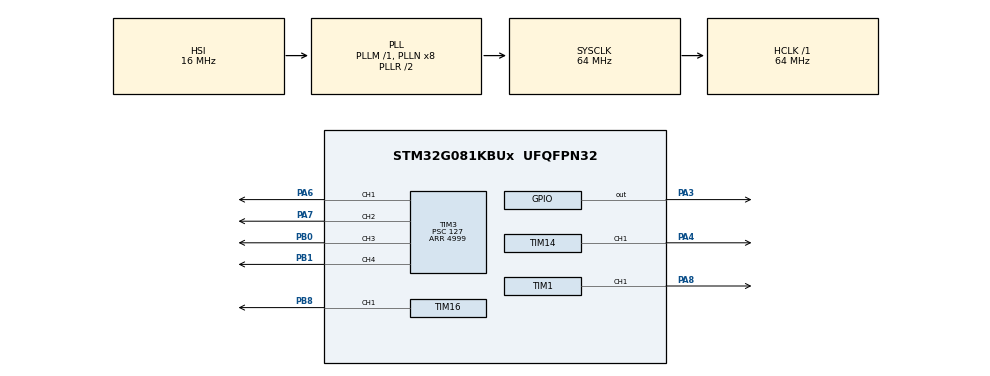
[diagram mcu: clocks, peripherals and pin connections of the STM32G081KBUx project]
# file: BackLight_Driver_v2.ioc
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Mcu.Family=STM32G0
Mcu.Name=STM32G081KBUx
Mcu.Package=UFQFPN32
PA13.Mode=Serial_Wire
PA13.Signal=SYS_SWDIO
PA14-BOOT0.Mode=Serial_Wire
PA14-BOOT0.Signal=SYS_SWCLK
PA3.Signal=GPIO_Output
PA4.Signal=S_TIM14_CH1
PA6.Signal=S_TIM3_CH1
PA7.Signal=S_TIM3_CH2
PA8.Signal=S_TIM1_CH1
PB0.Signal=S_TIM3_CH3
PB1.Signal=S_TIM3_CH4
PB8.Signal=S_TIM16_CH1
ProjectManager.HeapSize=0x200
ProjectManager.StackSize=0x400
ProjectManager.TargetToolchain=STM32CubeIDE
RCC.ADCFreq_Value=64000000
RCC.AHBFreq_Value=64000000
RCC.CortexFreq_Value=64000000
RCC.EXTERNAL_CLOCK_VALUE=48000
RCC.HCLKFreq_Value=64000000
RCC.HSE_VALUE=8000000
RCC.HSI_VALUE=16000000
RCC.LSE_VALUE=32768
RCC.SYSCLKFreq_VALUE=64000000
RCC.SYSCLKSource=RCC_SYSCLKSOURCE_PLLCLK
RCC.VCOOutputFreq_Value=128000000
SH.S_TIM14_CH1.0=TIM14_CH1,PWM Generation1 CH1
SH.S_TIM16_CH1.0=TIM16_CH1,PWM Generation1 CH1
SH.S_TIM1_CH1.0=TIM1_CH1,PWM Generation1 CH1
SH.S_TIM3_CH1.0=TIM3_CH1,PWM Generation1 CH1
SH.S_TIM3_CH2.0=TIM3_CH2,PWM Generation2 CH2
SH.S_TIM3_CH3.0=TIM3_CH3,PWM Generation3 CH3
SH.S_TIM3_CH4.0=TIM3_CH4,PWM Generation4 CH4
TIM1.Channel-PWM\ Generation1\ CH1=TIM_CHANNEL_1
TIM1.Period=4999
TIM1.Prescaler=127
TIM1.Pulse-PWM\ Generation1\ CH1=5000
TIM14.Channel=TIM_CHANNEL_1
TIM14.Period=4999
TIM14.Prescaler=127
TIM14.Pulse=5000
TIM16.Channel=TIM_CHANNEL_1
TIM16.Period=4999
TIM16.Prescaler=127
TIM16.Pulse=5000
TIM3.Channel-PWM\ Generation1\ CH1=TIM_CHANNEL_1
TIM3.Channel-PWM\ Generation2\ CH2=TIM_CHANNEL_2
TIM3.Channel-PWM\ Generation3\ CH3=TIM_CHANNEL_3
TIM3.Channel-PWM\ Generation4\ CH4=TIM_CHANNEL_4
TIM3.Period=4999
TIM3.Prescaler=127
TIM3.Pulse-PWM\ Generation1\ CH1=5000
TIM3.Pulse-PWM\ Generation2\ CH2=5000
TIM3.Pulse-PWM\ Generation3\ CH3=5000
TIM3.Pulse-PWM\ Generation4\ CH4=5000
VP_SYS_VS_DBSignals.Mode=DisableDeadBatterySignals
VP_TIM14_VS_ClockSourceINT.Mode=Enable_Timer
VP_TIM16_VS_ClockSourceINT.Mode=Enable_Timer
VP_TIM1_VS_ClockSourceINT.Mode=Internal
VP_TIM3_VS_ClockSourceINT.Mode=Internal
board=custom

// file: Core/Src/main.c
/* USER CODE BEGIN Header */
/**
  ******************************************************************************
  * @file           : main.c
  * @brief          : Main program body
  ******************************************************************************
  * @attention
  *
  * <h2><center>&copy; Copyright (c) 2021 STMicroelectronics.
  * All rights reserved.</center></h2>
  *
  * This software component is licensed by ST under BSD 3-Clause license,
  * the "License"; You may not use this file except in compliance with the
  * License. You may obtain a copy of the License at:
  *                        opensource.org/licenses/BSD-3-Clause
  *
  ******************************************************************************
  */
/* USER CODE END Header */
#include "main.h"

/* USER CODE BEGIN Includes */
#include "LTR-329ALS-01_DS_V1.h"
#include "I2C_Functions.h"
/* USER CODE END Includes */

/* USER CODE BEGIN PD */
#define Backlight_Slave_Address (0x60)
/* USER CODE END PD */

TIM_HandleTypeDef htim1;
TIM_HandleTypeDef htim3;
TIM_HandleTypeDef htim14;
TIM_HandleTypeDef htim16;

/* USER CODE BEGIN PV */
uint8_t Received_DutyData[2];
uint8_t level_set_flag=0;
int16_t duty;
uint8_t LTR_TransmitData[2];
uint8_t BL_TransmitData[2];
uint32_t xxx = 0;
uint32_t cntxx = 0;
/* USER CODE END PV */

void SystemClock_Config(void);
static void MX_GPIO_Init(void);
static void MX_TIM1_Init(void);
static void MX_TIM3_Init(void);
static void MX_TIM14_Init(void);
static void MX_TIM16_Init(void);

/* USER CODE BEGIN 0 */

void Send_Backlight_Level(void){
	BL_TransmitData[0] =(uint8_t)(duty>>8);
	BL_TransmitData[1] =(uint8_t)(duty);
}

void LTR_Meas(void){
	if(ALS_GetData(&LTR)==DataValid){
		 LuxCalc(&LTR);
		 LTR_TransmitData[0] =(uint8_t)(((uint16_t)((LTR.lux)*50))>>8);
		 LTR_TransmitData[1] =(uint8_t)(LTR.lux*50);
	}
}
/*
void Send_Ambient_Data(void){

	 LTR_TransmitData[0] = 0;
	 LTR_TransmitData[1] = xxx;
	 xxx++;
}*/
/* USER CODE END 0 */

int main(void)
{

  /* MCU Configuration--------------------------------------------------------*/

  /* Reset of all peripherals, Initializes the Flash interface and the Systick. */
  HAL_Init();

  /* Configure the system clock */
  SystemClock_Config();

  /* Initialize all configured peripherals */
  MX_GPIO_Init();
  MX_TIM1_Init();
  MX_TIM3_Init();
  MX_TIM14_Init();
  MX_TIM16_Init();
  /* USER CODE BEGIN 2 */
  duty = htim1.Instance->CCR1;
	I2C2_Master_Register_Init();
  I2C1_Slave_Register_Init();

  	 HAL_GPIO_WritePin(GPIOA, GPIO_PIN_3, GPIO_PIN_SET);//TPS61196 Enable edilir.
     HAL_TIM_PWM_Start(&htim1, TIM_CHANNEL_1);//TPS61196 PWM1 başlatılır.(100Hz,1:5000)
     HAL_TIM_PWM_Start(&htim3, TIM_CHANNEL_1);//TPS61196 PWM2 başlatılır.(100Hz,1:5000)
     HAL_TIM_PWM_Start(&htim3, TIM_CHANNEL_2);//TPS61196 PWM3 başlatılır.(100Hz,1:5000)
     HAL_TIM_PWM_Start(&htim3, TIM_CHANNEL_3);//TPS61196 PWM4 başlatılır.(100Hz,1:5000)
     HAL_TIM_PWM_Start(&htim3, TIM_CHANNEL_4);//TPS61196 PWM5 başlatılır.(100Hz,1:5000)
     HAL_TIM_PWM_Start(&htim14, TIM_CHANNEL_1);//TPS61196 PWM6 başlatılır.(100Hz,1:5000)
     HAL_TIM_PWM_Start(&htim16, TIM_CHANNEL_1);//TPS61196 PWM7 başlatılır.(100Hz,1:5000)
   	// LTR SENSOR ACTIVATİON

     LTR_Sensor_Init(&LTR);	// LTR Sensor Startup
     ALS_IntTimeBitRead(&LTR);

     ALS_CONTR_GainSet(&LTR, 1);	// LTR Sensor Gain Set INPUTS --> 1 - 2 - 4 - 8 - 48 - 96
     ALS_IntTimeSet(&LTR, 100);   // LTR Sensor Integration Time Set INPUTS --> 50 - 100 - 150 - 200 - 250 - 300 - 350
     ALS_MeasRateSet(&LTR, 200);  // LTR Sensor Measurement Rate Time Set INPUTS --> 50 - 100 - 200 - 500 - 1000 - 2000*/

  /* USER CODE END 2 */

  /* Infinite loop */
  /* USER CODE BEGIN WHILE */
  while (1)
  {
	  if(level_set_flag == 1){
		  	duty=(uint32_t)((((uint32_t)Received_DutyData[0])<<8)|((uint32_t)Received_DutyData[1]));
			htim1.Instance->CCR1=duty;//TPS61196  PWM1 darbe genişliği terminalden gelen 0-5000 aralığındaki bir değerle değiştirilir.
			htim3.Instance->CCR1=duty;//TPS61196  PWM2 darbe genişliği terminalden gelen 0-5000 aralığındaki bir değerle değiştirilir.
			htim3.Instance->CCR2=duty;//TPS61196  PWM3 darbe genişliği terminalden gelen 0-5000 aralığındaki bir değerle değiştirilir.
			htim3.Instance->CCR3=duty;//TPS61196  PWM4 darbe genişliği terminalden gelen 0-5000 aralığındaki bir değerle değiştirilir.
			htim3.Instance->CCR4=duty;//TPS61196  PWM5 darbe genişliği terminalden gelen 0-5000 aralığındaki bir değerle değiştirilir.
			htim14.Instance->CCR1=duty;//TPS61196 PWM6 darbe genişliği terminalden gelen 0-5000 aralığındaki bir değerle değiştirilir.
			htim16.Instance->CCR1=duty;//TPS61196 PWM7 darbe genişliği terminalden gelen 0-5000 aralığındaki bir değerle değiştirilir.
			level_set_flag = 0;
	  }
	  cntxx++;
	  if(cntxx == 200){
		  LTR_Meas();
		  cntxx = 0;
	  }

    /* USER CODE END WHILE */

  }
}

void SystemClock_Config(void)
{
  RCC_OscInitTypeDef RCC_OscInitStruct = {0};
  RCC_ClkInitTypeDef RCC_ClkInitStruct = {0};
  RCC_PeriphCLKInitTypeDef PeriphClkInit = {0};

  /** Configure the main internal regulator output voltage
  */
  HAL_PWREx_ControlVoltageScaling(PWR_REGULATOR_VOLTAGE_SCALE1);
  /** Initializes the RCC Oscillators according to the specified parameters
  * in the RCC_OscInitTypeDef structure.
  */
  RCC_OscInitStruct.OscillatorType = RCC_OSCILLATORTYPE_HSI;
  RCC_OscInitStruct.HSIState = RCC_HSI_ON;
  RCC_OscInitStruct.HSIDiv = RCC_HSI_DIV1;
  RCC_OscInitStruct.HSICalibrationValue = RCC_HSICALIBRATION_DEFAULT;
  RCC_OscInitStruct.PLL.PLLState = RCC_PLL_ON;
  RCC_OscInitStruct.PLL.PLLSource = RCC_PLLSOURCE_HSI;
  RCC_OscInitStruct.PLL.PLLM = RCC_PLLM_DIV1;
  RCC_OscInitStruct.PLL.PLLN = 8;
  RCC_OscInitStruct.PLL.PLLP = RCC_PLLP_DIV2;
  RCC_OscInitStruct.PLL.PLLQ = RCC_PLLQ_DIV2;
  RCC_OscInitStruct.PLL.PLLR = RCC_PLLR_DIV2;
  if (HAL_RCC_OscConfig(&RCC_OscInitStruct) != HAL_OK)
  {
    Error_Handler();
  }
  /** Initializes the CPU, AHB and APB buses clocks
  */
  RCC_ClkInitStruct.ClockType = RCC_CLOCKTYPE_HCLK|RCC_CLOCKTYPE_SYSCLK
                              |RCC_CLOCKTYPE_PCLK1;
  RCC_ClkInitStruct.SYSCLKSource = RCC_SYSCLKSOURCE_PLLCLK;
  RCC_ClkInitStruct.AHBCLKDivider = RCC_SYSCLK_DIV1;
  RCC_ClkInitStruct.APB1CLKDivider = RCC_HCLK_DIV1;

  if (HAL_RCC_ClockConfig(&RCC_ClkInitStruct, FLASH_LATENCY_2) != HAL_OK)
  {
    Error_Handler();
  }
  /** Initializes the peripherals clocks
  */
  PeriphClkInit.PeriphClockSelection = RCC_PERIPHCLK_TIM1;
  PeriphClkInit.Tim1ClockSelection = RCC_TIM1CLKSOURCE_PCLK1;
  if (HAL_RCCEx_PeriphCLKConfig(&PeriphClkInit) != HAL_OK)
  {
    Error_Handler();
  }
}

static void MX_TIM1_Init(void)
{

  TIM_ClockConfigTypeDef sClockSourceConfig = {0};
  TIM_MasterConfigTypeDef sMasterConfig = {0};
  TIM_OC_InitTypeDef sConfigOC = {0};
  TIM_BreakDeadTimeConfigTypeDef sBreakDeadTimeConfig = {0};

  htim1.Instance = TIM1;
  htim1.Init.Prescaler = 127;
  htim1.Init.CounterMode = TIM_COUNTERMODE_UP;
  htim1.Init.Period = 4999;
  htim1.Init.ClockDivision = TIM_CLOCKDIVISION_DIV1;
  htim1.Init.RepetitionCounter = 0;
  htim1.Init.AutoReloadPreload = TIM_AUTORELOAD_PRELOAD_DISABLE;
  if (HAL_TIM_Base_Init(&htim1) != HAL_OK)
  {
    Error_Handler();
  }
  sClockSourceConfig.ClockSource = TIM_CLOCKSOURCE_INTERNAL;
  if (HAL_TIM_ConfigClockSource(&htim1, &sClockSourceConfig) != HAL_OK)
  {
    Error_Handler();
  }
  if (HAL_TIM_PWM_Init(&htim1) != HAL_OK)
  {
    Error_Handler();
  }
  sMasterConfig.MasterOutputTrigger = TIM_TRGO_RESET;
  sMasterConfig.MasterOutputTrigger2 = TIM_TRGO2_RESET;
  sMasterConfig.MasterSlaveMode = TIM_MASTERSLAVEMODE_DISABLE;
  if (HAL_TIMEx_MasterConfigSynchronization(&htim1, &sMasterConfig) != HAL_OK)
  {
    Error_Handler();
  }
  sConfigOC.OCMode = TIM_OCMODE_PWM1;
  sConfigOC.Pulse = 5000;
  sConfigOC.OCPolarity = TIM_OCPOLARITY_HIGH;
  sConfigOC.OCNPolarity = TIM_OCNPOLARITY_HIGH;
  sConfigOC.OCFastMode = TIM_OCFAST_DISABLE;
  sConfigOC.OCIdleState = TIM_OCIDLESTATE_RESET;
  sConfigOC.OCNIdleState = TIM_OCNIDLESTATE_RESET;
  if (HAL_TIM_PWM_ConfigChannel(&htim1, &sConfigOC, TIM_CHANNEL_1) != HAL_OK)
  {
    Error_Handler();
  }
  sBreakDeadTimeConfig.OffStateRunMode = TIM_OSSR_DISABLE;
  sBreakDeadTimeConfig.OffStateIDLEMode = TIM_OSSI_DISABLE;
  sBreakDeadTimeConfig.LockLevel = TIM_LOCKLEVEL_OFF;
  sBreakDeadTimeConfig.DeadTime = 0;
  sBreakDeadTimeConfig.BreakState = TIM_BREAK_DISABLE;
  sBreakDeadTimeConfig.BreakPolarity = TIM_BREAKPOLARITY_HIGH;
  sBreakDeadTimeConfig.BreakFilter = 0;
  sBreakDeadTimeConfig.BreakAFMode = TIM_BREAK_AFMODE_INPUT;
  sBreakDeadTimeConfig.Break2State = TIM_BREAK2_DISABLE;
  sBreakDeadTimeConfig.Break2Polarity = TIM_BREAK2POLARITY_HIGH;
  sBreakDeadTimeConfig.Break2Filter = 0;
  sBreakDeadTimeConfig.Break2AFMode = TIM_BREAK_AFMODE_INPUT;
  sBreakDeadTimeConfig.AutomaticOutput = TIM_AUTOMATICOUTPUT_DISABLE;
  if (HAL_TIMEx_ConfigBreakDeadTime(&htim1, &sBreakDeadTimeConfig) != HAL_OK)
  {
    Error_Handler();
  }
  HAL_TIM_MspPostInit(&htim1);

}

static void MX_TIM3_Init(void)
{

  TIM_ClockConfigTypeDef sClockSourceConfig = {0};
  TIM_MasterConfigTypeDef sMasterConfig = {0};
  TIM_OC_InitTypeDef sConfigOC = {0};

  htim3.Instance = TIM3;
  htim3.Init.Prescaler = 127;
  htim3.Init.CounterMode = TIM_COUNTERMODE_UP;
  htim3.Init.Period = 4999;
  htim3.Init.ClockDivision = TIM_CLOCKDIVISION_DIV1;
  htim3.Init.AutoReloadPreload = TIM_AUTORELOAD_PRELOAD_DISABLE;
  if (HAL_TIM_Base_Init(&htim3) != HAL_OK)
  {
    Error_Handler();
  }
  sClockSourceConfig.ClockSource = TIM_CLOCKSOURCE_INTERNAL;
  if (HAL_TIM_ConfigClockSource(&htim3, &sClockSourceConfig) != HAL_OK)
  {
    Error_Handler();
  }
  if (HAL_TIM_PWM_Init(&htim3) != HAL_OK)
  {
    Error_Handler();
  }
  sMasterConfig.MasterOutputTrigger = TIM_TRGO_RESET;
  sMasterConfig.MasterSlaveMode = TIM_MASTERSLAVEMODE_DISABLE;
  if (HAL_TIMEx_MasterConfigSynchronization(&htim3, &sMasterConfig) != HAL_OK)
  {
    Error_Handler();
  }
  sConfigOC.OCMode = TIM_OCMODE_PWM1;
  sConfigOC.Pulse = 5000;
  sConfigOC.OCPolarity = TIM_OCPOLARITY_HIGH;
  sConfigOC.OCFastMode = TIM_OCFAST_DISABLE;
  if (HAL_TIM_PWM_ConfigChannel(&htim3, &sConfigOC, TIM_CHANNEL_1) != HAL_OK)
  {
    Error_Handler();
  }
  if (HAL_TIM_PWM_ConfigChannel(&htim3, &sConfigOC, TIM_CHANNEL_2) != HAL_OK)
  {
    Error_Handler();
  }
  if (HAL_TIM_PWM_ConfigChannel(&htim3, &sConfigOC, TIM_CHANNEL_3) != HAL_OK)
  {
    Error_Handler();
  }
  if (HAL_TIM_PWM_ConfigChannel(&htim3, &sConfigOC, TIM_CHANNEL_4) != HAL_OK)
  {
    Error_Handler();
  }
  HAL_TIM_MspPostInit(&htim3);

}

static void MX_TIM14_Init(void)
{

  TIM_OC_InitTypeDef sConfigOC = {0};

  htim14.Instance = TIM14;
  htim14.Init.Prescaler = 127;
  htim14.Init.CounterMode = TIM_COUNTERMODE_UP;
  htim14.Init.Period = 4999;
  htim14.Init.ClockDivision = TIM_CLOCKDIVISION_DIV1;
  htim14.Init.AutoReloadPreload = TIM_AUTORELOAD_PRELOAD_DISABLE;
  if (HAL_TIM_Base_Init(&htim14) != HAL_OK)
  {
    Error_Handler();
  }
  if (HAL_TIM_PWM_Init(&htim14) != HAL_OK)
  {
    Error_Handler();
  }
  sConfigOC.OCMode = TIM_OCMODE_PWM1;
  sConfigOC.Pulse = 5000;
  sConfigOC.OCPolarity = TIM_OCPOLARITY_HIGH;
  sConfigOC.OCFastMode = TIM_OCFAST_DISABLE;
  if (HAL_TIM_PWM_ConfigChannel(&htim14, &sConfigOC, TIM_CHANNEL_1) != HAL_OK)
  {
    Error_Handler();
  }
  HAL_TIM_MspPostInit(&htim14);

}

static void MX_TIM16_Init(void)
{

  TIM_OC_InitTypeDef sConfigOC = {0};
  TIM_BreakDeadTimeConfigTypeDef sBreakDeadTimeConfig = {0};

  htim16.Instance = TIM16;
  htim16.Init.Prescaler = 127;
  htim16.Init.CounterMode = TIM_COUNTERMODE_UP;
  htim16.Init.Period = 4999;
  htim16.Init.ClockDivision = TIM_CLOCKDIVISION_DIV1;
  htim16.Init.RepetitionCounter = 0;
  htim16.Init.AutoReloadPreload = TIM_AUTORELOAD_PRELOAD_DISABLE;
  if (HAL_TIM_Base_Init(&htim16) != HAL_OK)
  {
    Error_Handler();
  }
  if (HAL_TIM_PWM_Init(&htim16) != HAL_OK)
  {
    Error_Handler();
  }
  sConfigOC.OCMode = TIM_OCMODE_PWM1;
  sConfigOC.Pulse = 5000;
  sConfigOC.OCPolarity = TIM_OCPOLARITY_HIGH;
  sConfigOC.OCNPolarity = TIM_OCNPOLARITY_HIGH;
  sConfigOC.OCFastMode = TIM_OCFAST_DISABLE;
  sConfigOC.OCIdleState = TIM_OCIDLESTATE_RESET;
  sConfigOC.OCNIdleState = TIM_OCNIDLESTATE_RESET;
  if (HAL_TIM_PWM_ConfigChannel(&htim16, &sConfigOC, TIM_CHANNEL_1) != HAL_OK)
  {
    Error_Handler();
  }
  sBreakDeadTimeConfig.OffStateRunMode = TIM_OSSR_DISABLE;
  sBreakDeadTimeConfig.OffStateIDLEMode = TIM_OSSI_DISABLE;
  sBreakDeadTimeConfig.LockLevel = TIM_LOCKLEVEL_OFF;
  sBreakDeadTimeConfig.DeadTime = 0;
  sBreakDeadTimeConfig.BreakState = TIM_BREAK_DISABLE;
  sBreakDeadTimeConfig.BreakPolarity = TIM_BREAKPOLARITY_HIGH;
  sBreakDeadTimeConfig.BreakFilter = 0;
  sBreakDeadTimeConfig.AutomaticOutput = TIM_AUTOMATICOUTPUT_DISABLE;
  if (HAL_TIMEx_ConfigBreakDeadTime(&htim16, &sBreakDeadTimeConfig) != HAL_OK)
  {
    Error_Handler();
  }
  HAL_TIM_MspPostInit(&htim16);

}

static void MX_GPIO_Init(void)
{
  GPIO_InitTypeDef GPIO_InitStruct = {0};

  /* GPIO Ports Clock Enable */
  __HAL_RCC_GPIOA_CLK_ENABLE();
  __HAL_RCC_GPIOB_CLK_ENABLE();

  /*Configure GPIO pin Output Level */
  HAL_GPIO_WritePin(GPIOA, GPIO_PIN_3, GPIO_PIN_RESET);

  /*Configure GPIO pin : PA3 */
  GPIO_InitStruct.Pin = GPIO_PIN_3;
  GPIO_InitStruct.Mode = GPIO_MODE_OUTPUT_PP;
  GPIO_InitStruct.Pull = GPIO_NOPULL;
  GPIO_InitStruct.Speed = GPIO_SPEED_FREQ_LOW;
  HAL_GPIO_Init(GPIOA, &GPIO_InitStruct);

}

void Error_Handler(void)
{
  __disable_irq();
  while (1)
  {
  }
}

/************************ (C) COPYRIGHT STMicroelectronics *****END OF FILE****/
